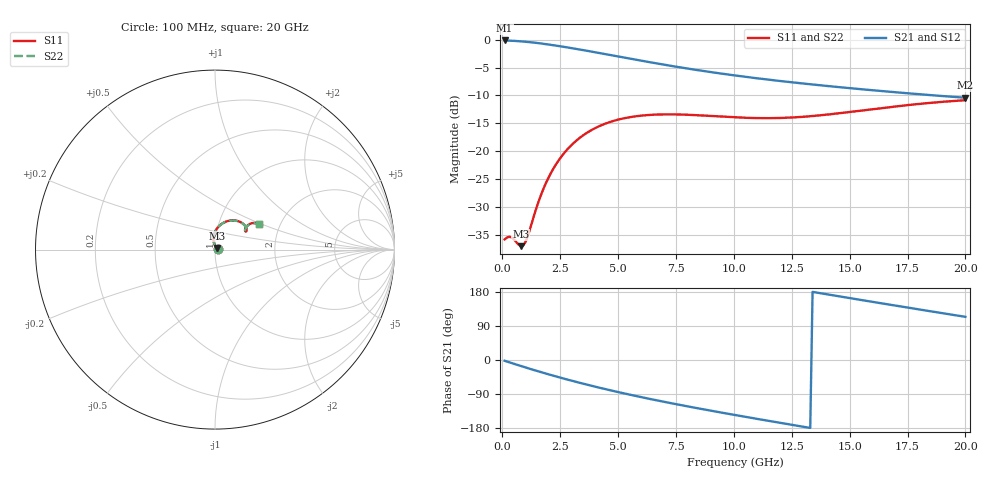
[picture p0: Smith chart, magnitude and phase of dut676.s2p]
! Touchstone file exported from HFSS 2024.1.0
!  File:  C:/UserFiles/LocalFiles/RDL_TSV_Batchsim/temp_RDL_TSV_676_1779815532.aedt
!  Generated:  01:31:16 AM May 27, 2026
!  Design:  RDL_TSV
!  Project:  temp_RDL_TSV_676_1779815532
!  Setup:  Setup1
!  Solution:  Sweep
! Variables:
!  dtsv = 8um
!  hbump = 3um
!  htsv = 92.06um
!  ldown = 629.92um
!  lrdl = 421.05um
!  p = 40
!  p1 = 43.88um
!  rhole = 10um
!  subl = 3573.96um
!  t = 450um
!  tdown = 4.89um
!  trdl = 3.02um
!  viad = 10um
!  wdown = 19.47um
!  wrdl = 26.03um
!  xbump = 18um
# GHz S MA R 50.000000
! Terminal data exported
! Port[1] = TM1_1_T1
! Port[2] = TM1_4_T1
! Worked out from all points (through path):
!   200 points, 100 MHz to 20 GHz, reference 50 ohm
!   highest |S21| = -0.14 dB at 100 MHz (marker M1); lowest = -10.4 dB at 20 GHz (marker M2)
!   group delay of S21, straight-line fit = 32.5 ps
!   lowest |S11| = -37.1 dB at 800 MHz (marker M3), VSWR 1.03, Z = 51 + j0.975 ohm
!   |S11| at or under -10 dB: start of sweep to end of sweep
!   |S22| runs from -37.0 to -10.9 dB; largest |S21 - S12| = 1.1e-14
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0.1  0.01614 6.6  0.9836 -2.1  0.9836 -2.1  0.01614 6.6
! Gamma 0 0 0 0
! Port Impedance 50 0 50 0
0.3  0.01705 13.7  0.98 -6.1  0.98 -6.1  0.01705 13.6
0.4  0.0168 16.3  0.9777 -8.0  0.9777 -8.0  0.01681 16.3
0.8  0.01404 42.9  0.9659 -15.8  0.9659 -15.8  0.01405 42.7
0.9  0.01422 54.6  0.9621 -17.7  0.9621 -17.7  0.01423 54.4
1  0.01529 66.5  0.958 -19.6  0.958 -19.6  0.01528 66.3
1.7  0.04191 99.4  0.9226 -32.5  0.9226 -32.5  0.04179 99.3
2.2  0.0693 96.9  0.8921 -41.4  0.8921 -41.4  0.06909 96.8
2.8  0.1032 88.9  0.8527 -51.5  0.8527 -51.5  0.1029 88.9
3.5  0.139 78.4  0.8053 -62.6  0.8053 -62.6  0.1386 78.3
4.2  0.168 68.3  0.7583 -73.2  0.7583 -73.2  0.1675 68.3
4.9  0.1892 59.4  0.7131 -83.2  0.7131 -83.2  0.1887 59.3
5.8  0.2058 49.7  0.659 -95.4  0.659 -95.4  0.2054 49.6
6.8  0.2132 41.3  0.6054 -108.1  0.6054 -108.1  0.2128 41.3
8.4  0.2101 32.9  0.5344 -126.9  0.5344 -126.9  0.2099 32.9
10.1  0.2008 30.2  0.4758 -145.7  0.4758 -145.7  0.2006 30.0
11.7  0.1977 31.8  0.4327 -162.7  0.4327 -162.7  0.1975 31.5
13.4  0.2064 34.9  0.396 179.7  0.396 179.7  0.206 34.6
15.1  0.2257 36.6  0.3656 162.4  0.3656 162.4  0.2248 36.2
16.7  0.2479 36.0  0.3413 146.3  0.3413 146.3  0.2465 35.6
18.3  0.2688 33.6  0.3204 130.5  0.3204 130.5  0.2671 33.2
20  0.2862 30.1  0.3012 113.9  0.3012 113.9  0.2841 29.7
